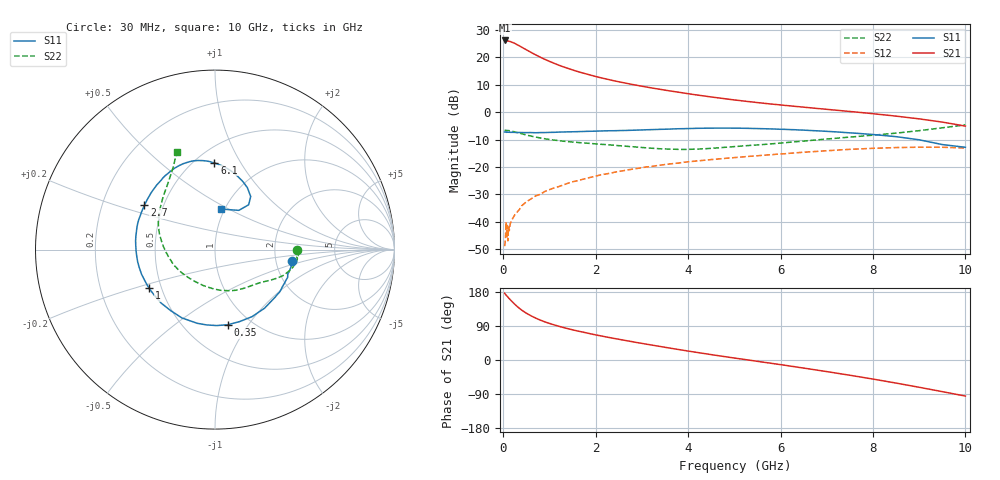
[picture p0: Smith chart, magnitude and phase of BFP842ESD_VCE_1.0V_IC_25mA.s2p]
! Infineon Technologies  Discrete & RF Semiconductors
! BFP842ESD
! VCE =  1.0 V,  IC =  25 mA
! Common Emitter S-Parameters:  May 2012
# GHz  S  MA  R  50
!  f  S11  S21  S12  S22
! GHz  MAG  ANG  MAG  ANG  MAG  ANG  MAG  ANG
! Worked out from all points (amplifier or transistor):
!   99 points, 30 MHz to 10 GHz, reference 50 ohm
!   highest |S21| = 26.1 dB at 30 MHz (marker M1)
!   |S21| within 3 dB of that: start of sweep to 457.6 MHz
!   unconditionally stable (mu >= 1): start of sweep to end of sweep
!   at 350 MHz: K = 1.30, MAG = 26.5 dB, |S12| = -35.5 dB
!   at 3.5 GHz: K = 1.37, MAG = 9.9 dB, |S12| = -19.1 dB
!   at 10 GHz: K = 2.48, MAG = -2.8 dB, |S12| = -13.1 dB
!   S11 on the Smith chart (normalised r, x): 30 MHz: 2.46, -0.38; 350 MHz: 0.79, -0.81; 1 GHz: 0.43, -0.22; 2.7 GHz: 0.39, +0.25; 6.1 GHz: 0.62, +0.78; 10 GHz: 0.96, +0.46
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0.03  0.4329 -8.3  20.19 176.2  0.0036 0.2  0.4587 -0.6
0.05  0.4345 -12.6  19.92 173.0  0.0056 109.8  0.4657 -1.9
0.06  0.4312 -16.8  20.19 171.6  0.0099 39.4  0.4653 -4.1
0.08  0.4335 -21.1  19.95 168.7  0.0051 50.6  0.4636 -4.3
0.11  0.4286 -29.0  19.77 164.6  0.0071 59.3  0.4618 -6.5
0.2  0.4276 -49.8  18.6 153.2  0.0113 57.8  0.4463 -12.4
0.25  0.4268 -61.1  17.86 147.1  0.0134 59.7  0.4361 -14.9
0.35  0.4246 -80.5  16.12 136.4  0.0168 63.0  0.4134 -19.6
0.45  0.4222 -96.4  14.41 127.5  0.0213 59.1  0.3921 -22.9
0.6  0.4231 -115.8  12.25 116.7  0.0261 61.5  0.3651 -26.9
0.8  0.4228 -135.1  10.03 105.4  0.0317 58.6  0.3377 -31.2
1  0.4264 -149.8  8.402 96.6  0.0386 58.4  0.3167 -35.0
1.3  0.4336 -166.5  6.681 85.8  0.047 55.0  0.2943 -41.1
1.7  0.4421 177.0  5.21 74.2  0.0589 51.9  0.2746 -49.5
2.1  0.4522 164.2  4.241 63.9  0.0715 48.0  0.2591 -59.0
2.7  0.4639 147.9  3.3 50.3  0.0886 41.3  0.2366 -74.8
3.4  0.4848 132.0  2.592 35.6  0.1078 32.2  0.2142 -97.7
5.1  0.5087 103.3  1.627 3.5  0.1506 9.2  0.238 -155.4
6.1  0.4842 90.4  1.322 -14.0  0.1745 -5.2  0.2767 -178.8
6.7  0.4593 82.3  1.185 -25.0  0.1901 -14.8  0.3067 169.1
8.5  0.3566 56.1  0.844 -60.9  0.2255 -50.3  0.4134 134.3
10  0.2281 81.9  0.555 -95.2  0.2212 -89.2  0.5844 111.4
